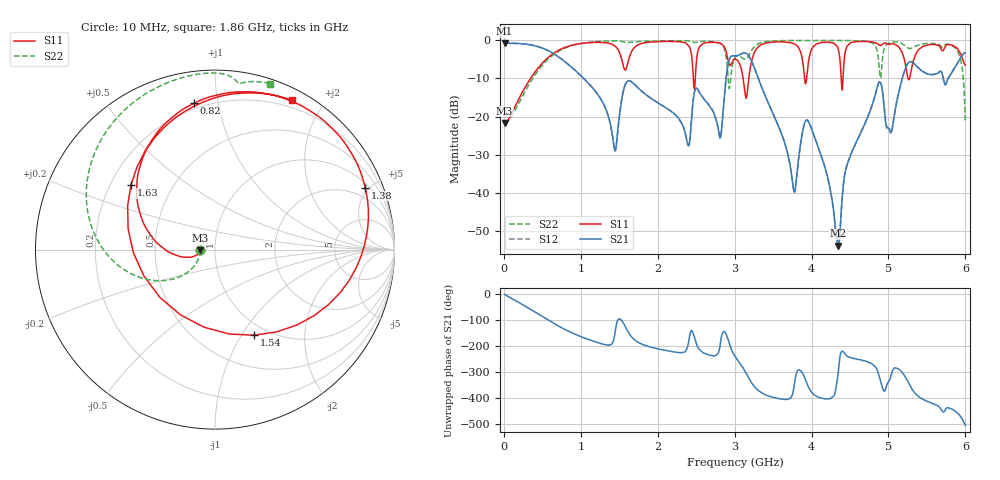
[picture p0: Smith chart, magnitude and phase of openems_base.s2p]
! G_pp100: Plane pair 50 × 30 mm, d = 0.1 mm, ports at a corner and the centre
! stackup: plane pair, 0.1 mm FR-4
! ports: 1 corner, 2 centre
! openEMS 0.37.0, staircase, base mesh (dfine 0.1 mm), 314160 cells
# Hz S RI R 1
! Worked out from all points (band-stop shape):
!   600 points, 10 MHz to 6 GHz, reference 1 ohm
!   highest |S21| = -0.75 dB at 10 MHz (marker M1); lowest = -53.9 dB at 4.35 GHz (marker M2)
!   |S21| within 3 dB of the highest: start of sweep to 665.4 MHz; 3.069 GHz to 3.172 GHz (102.3 MHz wide, 3.28 % of centre)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
!   lowest |S11| = -21.7 dB at 10 MHz (marker M3), VSWR 1.18, Z = 0.848 - j0.00696 ohm
!   |S11| at or under -10 dB: start of sweep to 347.8 MHz; 2.464 GHz to 2.488 GHz (24.02 MHz wide, 0.97 % of centre); 3.11 GHz to 3.185 GHz (74.45 MHz wide, 2.37 % of centre)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
!   |S22| runs from -21.7 to 0.0 dB; largest |S21 - S12| = 0.005
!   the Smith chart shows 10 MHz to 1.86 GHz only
!   S11 on the Smith chart (normalised r, x): 10 MHz: 0.85, -0.01; 820 MHz: 0.17, +0.85; 1.38 GHz: 1.24, +4.73; 1.54 GHz: 0.86, -1.13; 1.63 GHz: 0.28, +0.32; 1.86 GHz: 0.12, +1.63
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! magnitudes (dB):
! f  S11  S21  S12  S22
! 10 MHz  -21.7  -0.7  -0.7  -21.7
! 820 MHz  -1.7  -6.0  -6.0  -1.8
! 1.01 GHz  -0.8  -9.4  -9.4  -0.8
! 1.38 GHz  -0.9  -21.5  -21.6  -0.2
! 1.45 GHz  -1.6  -29.0  -29.0  -0.1
! 1.54 GHz  -5.6  -14.7  -14.7  -0.3
! 1.63 GHz  -4.6  -10.6  -10.6  -0.6
! 1.86 GHz  -0.6  -14.5  -14.5  -0.2
! 2.01 GHz  -0.3  -16.5  -16.5  -0.2
! 2.81 GHz  -0.8  -25.7  -25.4  -0.8
! 3.01 GHz  -5.0  -4.1  -4.1  -4.5
! 3.15 GHz  -15.2  -3.4  -3.4  -4.9
! 3.31 GHz  -1.7  -10.1  -10.1  -0.9
! 3.77 GHz  -0.9  -39.5  -39.6  -0.1
! 4.01 GHz  -2.1  -23.7  -23.7  -0.1
! 4.35 GHz  -2.5  -53.9  -53.6  -0.1
! 4.46 GHz  -1.6  -32.8  -32.9  -0.1
! 4.87 GHz  -1.1  -11.2  -11.2  -5.0
! 5.01 GHz  -1.1  -23.4  -23.1  -0.8
! 5.26 GHz  -10.3  -5.9  -5.9  -2.1
! 5.85 GHz  -1.5  -7.5  -7.6  -1.7
! 6 GHz  -6.5  -3.3  -3.3  -21.6
